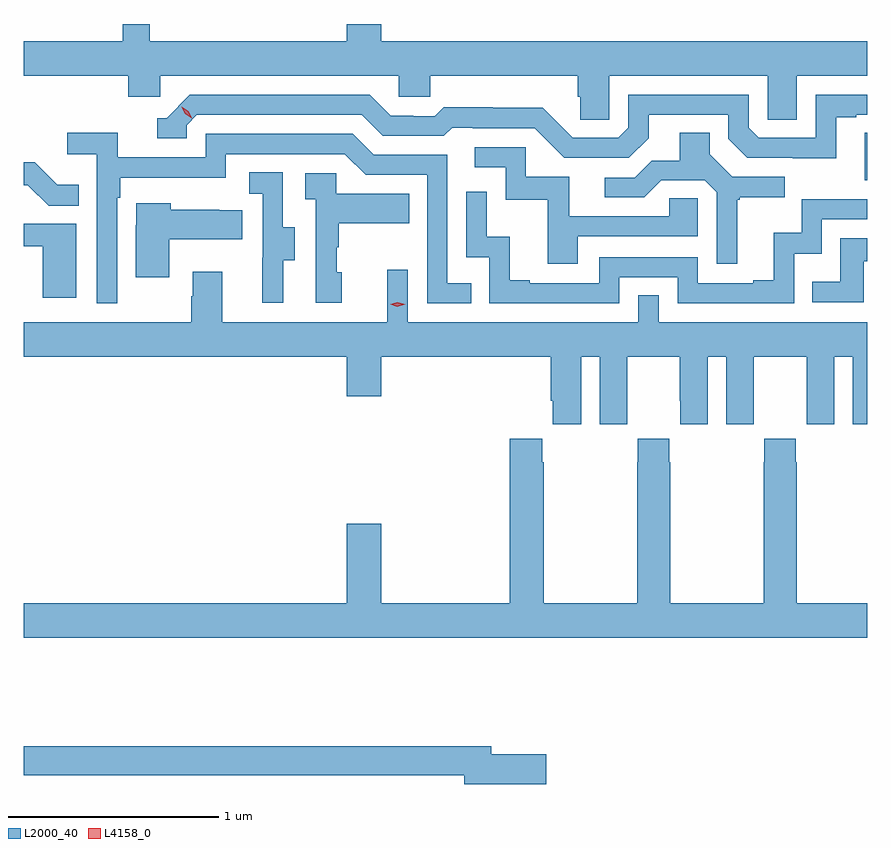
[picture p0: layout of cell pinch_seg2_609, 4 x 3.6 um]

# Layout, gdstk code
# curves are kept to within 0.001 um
import gdstk
lib = gdstk.Library(unit=1e-6, precision=1e-09)
def R(c, l, rs):  # rectangles x0, y0, x1, y1
    for r in rs: c.add(gdstk.rectangle(r[:2], r[2:], *l))
def P(c, l, *ps):  # polygons
    for p in ps: c.add(gdstk.Polygon(p, *l))
L2000_40 = (2000, 40)
L4158_0 = (4158, 0)

pinch_seg2_609 = lib.new_cell('pinch_seg2_609')
R(pinch_seg2_609, L2000_40, [(1030.601,623.166,1030.613,623.39)])
P(pinch_seg2_609, L2000_40, [(1029.39,623.66),(1030.14,623.66),(1030.14,623.452),(1030.279,623.452),(1030.279,623.66),(1030.613,623.66),(1030.613,623.824),(1028.308,623.824),(1028.308,623.906),(1028.144,623.906),(1028.144,623.824),(1027.211,623.824),(1027.211,623.906),(1027.083,623.906),(1027.083,623.824),(1026.613,623.824),(1026.613,623.66),(1027.109,623.66),(1027.109,623.562),(1027.26,623.562),(1027.26,623.66),(1028.391,623.66),(1028.391,623.562),(1028.541,623.562),(1028.541,623.66),(1029.239,623.66),(1029.239,623.562),(1029.253,623.562),(1029.253,623.452),(1029.39,623.452)],
  [(1030.465,623.463),(1030.561,623.463),(1030.561,623.475),(1030.613,623.475),(1030.613,623.571),(1030.368,623.571),(1030.368,623.367),(1030.098,623.367),(1030.05,623.415),(1030.05,623.571),(1029.48,623.571),(1029.48,623.415),(1029.432,623.367),(1029.216,623.367),(1029.074,623.509),(1028.838,623.509),(1028.838,623.512),(1028.605,623.512),(1028.563,623.469),(1028.46,623.469),(1028.46,623.472),(1028.353,623.472),(1028.254,623.571),(1027.401,623.571),(1027.29,623.46),(1027.247,623.46),(1027.247,623.364),(1027.386,623.364),(1027.386,623.427),(1027.434,623.475),(1028.217,623.475),(1028.316,623.376),(1028.605,623.376),(1028.644,623.415),(1028.743,623.415),(1028.743,623.412),(1029.036,623.412),(1029.177,623.271),(1029.483,623.271),(1029.577,623.365),(1029.577,623.475),(1029.954,623.475),(1029.954,623.361),(1030.044,623.271),(1030.465,623.27)],
  [(1029.997,623.073),(1030.009,623.073),(1030.009,623.084),(1030.222,623.084),(1030.222,623.181),(1029.972,623.181),(1029.865,623.288),(1029.865,623.39),(1029.725,623.39),(1029.725,623.258),(1029.59,623.258),(1029.51,623.178),(1029.369,623.178),(1029.369,623.085),(1029.556,623.085),(1029.637,623.166),(1029.843,623.166),(1029.9,623.109),(1029.9,622.77),(1029.997,622.77)],
  [(1027.056,623.081),(1027.07,623.081),(1027.07,623.178),(1027.572,623.178),(1027.572,623.289),(1028.136,623.289),(1028.235,623.19),(1028.526,623.19),(1028.526,622.581),(1028.735,622.581),(1028.735,622.677),(1028.622,622.677),(1028.622,623.286),(1028.272,623.286),(1028.173,623.385),(1027.476,623.385),(1027.476,623.274),(1027.058,623.274),(1027.058,623.39),(1026.819,623.39),(1026.819,623.288),(1026.96,623.288),(1026.96,622.581),(1027.056,622.581)],
  [(1029.241,622.899),(1029.81,622.899),(1029.81,623.079),(1029.673,623.079),(1029.673,622.995),(1029.199,622.995),(1029.199,623.181),(1028.994,623.181),(1028.994,623.322),(1028.751,623.322),(1028.751,623.226),(1028.898,623.226),(1028.898,623.073),(1029.097,623.073),(1029.097,622.77),(1029.241,622.77)],
  [(1026.875,623.143),(1026.771,623.143),(1026.664,623.25),(1026.613,623.25),(1026.613,623.142),(1026.633,623.142),(1026.731,623.044),(1026.875,623.044)],
  [(1027.843,622.786),(1027.897,622.786),(1027.897,622.941),(1027.842,622.941),(1027.842,623.204),(1027.683,623.204),(1027.683,623.101),(1027.746,623.101),(1027.746,622.797),(1027.745,622.797),(1027.745,622.584),(1027.843,622.584)],
  [(1028.122,622.728),(1028.097,622.728),(1028.097,622.847),(1028.107,622.847),(1028.107,622.961),(1028.441,622.961),(1028.441,623.101),(1028.094,623.101),(1028.094,623.199),(1027.947,623.199),(1027.947,623.075),(1027.998,623.075),(1027.998,622.584),(1028.122,622.584)],
  [(1029.438,622.704),(1029.714,622.704),(1029.714,622.581),(1030.266,622.581),(1030.266,622.817),(1030.398,622.817),(1030.398,622.98),(1030.613,622.98),(1030.613,623.076),(1030.302,623.076),(1030.302,622.915),(1030.169,622.915),(1030.169,622.69),(1030.073,622.69),(1030.073,622.677),(1029.81,622.677),(1029.81,622.8),(1029.342,622.8),(1029.342,622.677),(1029.013,622.677),(1029.013,622.69),(1028.918,622.69),(1028.918,622.898),(1028.808,622.898),(1028.808,623.11),(1028.712,623.11),(1028.712,622.8),(1028.82,622.8),(1028.82,622.581),(1029.438,622.581)],
  [(1027.303,622.886),(1027.649,622.886),(1027.649,623.023),(1027.541,623.023),(1027.541,623.026),(1027.311,623.026),(1027.311,623.055),(1027.146,623.055),(1027.146,622.952),(1027.145,622.952),(1027.145,622.704),(1027.303,622.704)],
  [(1026.862,622.959),(1026.613,622.959),(1026.613,622.851),(1026.704,622.851),(1026.704,622.608),(1026.862,622.608)],
  [(1030.597,622.782),(1030.613,622.782),(1030.613,622.89),(1030.486,622.89),(1030.486,622.684),(1030.351,622.684),(1030.351,622.587),(1030.597,622.587)],
  [(1029.256,622.328),(1029.344,622.328),(1029.344,622.008),(1029.474,622.008),(1029.474,622.12),(1029.475,622.12),(1029.475,622.328),(1029.725,622.328),(1029.725,622.12),(1029.726,622.12),(1029.726,622.008),(1029.856,622.008),(1029.856,622.328),(1029.944,622.328),(1029.944,622.008),(1030.074,622.008),(1030.074,622.12),(1030.075,622.12),(1030.075,622.328),(1030.325,622.328),(1030.325,622.12),(1030.326,622.12),(1030.326,622.008),(1030.456,622.008),(1030.456,622.328),(1030.544,622.328),(1030.544,622.008),(1030.613,622.008),(1030.613,622.492),(1029.624,622.492),(1029.624,622.619),(1029.528,622.619),(1029.528,622.492),(1028.433,622.492),(1028.433,622.741),(1028.336,622.741),(1028.336,622.492),(1027.555,622.492),(1027.555,622.732),(1027.415,622.732),(1027.415,622.616),(1027.408,622.616),(1027.408,622.492),(1026.613,622.492),(1026.613,622.328),(1028.144,622.328),(1028.144,622.14),(1028.308,622.14),(1028.308,622.328),(1029.113,622.328),(1029.113,622.12),(1029.122,622.12),(1029.122,622.008),(1029.256,622.008)],
  [(1030.613,621.16),(1030.278,621.16),(1030.278,621.827),(1030.275,621.827),(1030.275,621.94),(1030.125,621.94),(1030.125,621.827),(1030.123,621.827),(1030.123,621.16),(1029.678,621.16),(1029.678,621.827),(1029.675,621.827),(1029.675,621.94),(1029.525,621.94),(1029.525,621.827),(1029.523,621.827),(1029.523,621.16),(1029.078,621.16),(1029.078,621.827),(1029.071,621.827),(1029.071,621.94),(1028.918,621.94),(1028.918,621.16),(1028.308,621.16),(1028.308,621.535),(1028.144,621.535),(1028.144,621.16),(1026.613,621.16),(1026.613,620.996),(1030.613,620.996)],
  [(1029.091,620.444),(1028.83,620.444),(1028.83,620.48),(1026.613,620.48),(1026.613,620.344),(1028.702,620.344),(1028.702,620.302),(1029.091,620.302)])
P(pinch_seg2_609, L4158_0, [(1027.409,623.46),(1027.379,623.48),(1027.363,623.512),(1027.363,623.513),(1027.363,623.513),(1027.394,623.493),(1027.409,623.461),(1027.409,623.46)],
  [(1028.385,622.566),(1028.35,622.576),(1028.35,622.576),(1028.35,622.576),(1028.385,622.586),(1028.421,622.576),(1028.421,622.576),(1028.421,622.576)])

lib.write_gds('pinch_seg2_609.gds')
